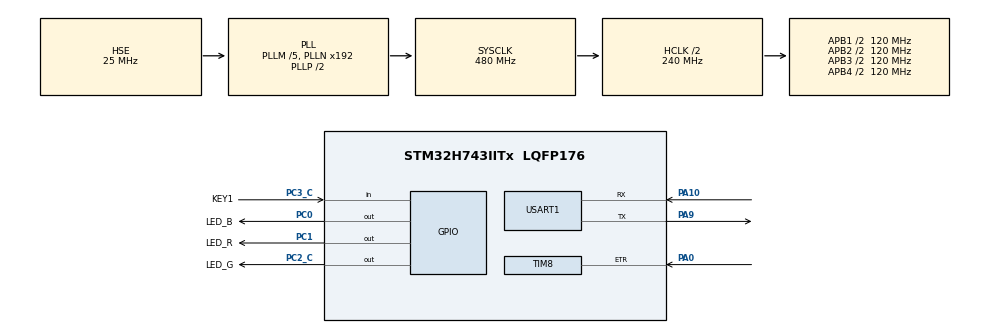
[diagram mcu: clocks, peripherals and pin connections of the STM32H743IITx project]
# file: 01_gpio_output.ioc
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CORTEX_M7.Enable_Spec=__NULL
CORTEX_M7.default_mode_Activation=1
Mcu.Family=STM32H7
Mcu.Name=STM32H743IITx
Mcu.Package=LQFP176
NVIC.PriorityGroup=NVIC_PRIORITYGROUP_4
NVIC.TIM7_IRQn=true\:0\:0\:false\:false\:true\:true\:true\:true
NVIC.TIM8_UP_TIM13_IRQn=true\:0\:0\:false\:false\:true\:true\:true\:true
NVIC.USART1_IRQn=true\:0\:0\:false\:false\:true\:true\:true\:true
PA0.Signal=S_TIM8_ETR
PA10.Mode=Asynchronous
PA10.Signal=USART1_RX
PA13\ (JTMS/SWDIO).Mode=Serial_Wire
PA13\ (JTMS/SWDIO).Signal=DEBUG_JTMS-SWDIO
PA14\ (JTCK/SWCLK).Mode=Serial_Wire
PA14\ (JTCK/SWCLK).Signal=DEBUG_JTCK-SWCLK
PA9.Mode=Asynchronous
PA9.Signal=USART1_TX
PC0.GPIO_Label=LED_B
PC0.GPIO_ModeDefaultOutputPP=GPIO_MODE_OUTPUT_PP
PC0.GPIO_PuPd=GPIO_NOPULL
PC0.GPIO_Speed=GPIO_SPEED_FREQ_LOW
PC0.PinState=GPIO_PIN_RESET
PC0.Signal=GPIO_Output
PC1.GPIO_Label=LED_R
PC1.PinState=GPIO_PIN_RESET
PC1.Signal=GPIO_Output
PC2_C.GPIO_Label=LED_G
PC2_C.PinState=GPIO_PIN_RESET
PC2_C.Signal=GPIO_Output
PC3_C.GPIO_Label=KEY1
PC3_C.GPIO_PuPd=GPIO_PULLUP
PC3_C.Signal=GPIO_Input
PH0-OSC_IN\ (PH0).Mode=HSE-External-Oscillator
PH0-OSC_IN\ (PH0).Signal=RCC_OSC_IN
PH1-OSC_OUT\ (PH1).Mode=HSE-External-Oscillator
PH1-OSC_OUT\ (PH1).Signal=RCC_OSC_OUT
ProjectManager.HeapSize=0x200
ProjectManager.StackSize=0x400
ProjectManager.TargetToolchain=CMake
RCC.ADCFreq_Value=50390625
RCC.APB1Freq_Value=120000000
RCC.APB2Freq_Value=120000000
RCC.APB3Freq_Value=120000000
RCC.APB4Freq_Value=120000000
RCC.CortexFreq_Value=480000000
RCC.D1PPRE=RCC_APB3_DIV2
RCC.D2PPRE1=RCC_APB1_DIV2
RCC.D2PPRE2=RCC_APB2_DIV2
RCC.D3PPRE=RCC_APB4_DIV2
RCC.DIVM1=5
RCC.DIVN1=192
RCC.HCLKFreq_Value=240000000
RCC.HPRE=RCC_HCLK_DIV2
RCC.HSE_VALUE=25000000
RCC.PLLFRACN=0
RCC.PLLSourceVirtual=RCC_PLLSOURCE_HSE
RCC.SYSCLKFreq_VALUE=480000000
RCC.SYSCLKSource=RCC_SYSCLKSOURCE_PLLCLK
RCC.USBFreq_Value=480000000
SH.S_TIM8_ETR.0=TIM8_ETR,ClockSourceETR_Mode2
TIM7.AutoReloadPreload=TIM_AUTORELOAD_PRELOAD_ENABLE
TIM7.Period=9999
TIM7.Prescaler=23999
TIM8.AutoReloadPreload=TIM_AUTORELOAD_PRELOAD_DISABLE
TIM8.Period=65535
TIM8.Prescaler=0
USART1.FIFOMode=FIFOMODE_ENABLE
USART1.Parity=PARITY_NONE
USART1.RXFIFOThreshold=RXFIFO_THRESHOLD_HALFFULL
USART1.TXFIFOThreshold=TXFIFO_THRESHOLD_HALFFULL
USART1.VirtualMode-Asynchronous=VM_ASYNC
USART1.WordLength=WORDLENGTH_8B
VP_MEMORYMAP_VS_MEMORYMAP.Mode=CurAppReg
VP_TIM7_VS_ClockSourceINT.Mode=Enable_Timer
board=custom

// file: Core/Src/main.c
/* USER CODE BEGIN Header */
/**
  ******************************************************************************
  * @file           : main.c
  * @brief          : Main program body
  ******************************************************************************
  * @attention
  *
  * Copyright (c) 2025 STMicroelectronics.
  * All rights reserved.
  *
  * This software is licensed under terms that can be found in the LICENSE file
  * in the root directory of this software component.
  * If no LICENSE file comes with this software, it is provided AS-IS.
  *
  ******************************************************************************
  */
/* USER CODE END Header */
#include "main.h"
#include "memorymap.h"
#include "tim.h"
#include "usart.h"
#include "gpio.h"

/* USER CODE BEGIN Includes */
#include <string.h>
#include <stdio.h>
/* USER CODE END Includes */

void SystemClock_Config(void);
static void MPU_Config(void);

/* USER CODE BEGIN 0 */

uint32_t fre_hz = 0;
uint16_t timer8_cnt = 0;
uint16_t timer8_period = 0;
uint8_t flag_1s = 0;
#define TIM8_PERIOD 65535
void HAL_TIM_PeriodElapsedCallback(TIM_HandleTypeDef *htim) {
  if (htim->Instance == TIM8) {
    timer8_period ++;
  }
  if (htim->Instance == TIM7) {
    fre_hz = __HAL_TIM_GET_COUNTER(&htim8) +timer8_period * (TIM8_PERIOD +1 );
    __HAL_TIM_SET_COUNTER(&htim8, 0);
    timer8_period = 0;
    flag_1s = 1;
  }
}

/* USER CODE END 0 */

int main(void)
{

  /* MPU Configuration--------------------------------------------------------*/
  MPU_Config();

  /* MCU Configuration--------------------------------------------------------*/

  /* Reset of all peripherals, Initializes the Flash interface and the Systick. */
  HAL_Init();

  /* Configure the system clock */
  SystemClock_Config();

  /* Initialize all configured peripherals */
  MX_GPIO_Init();
  MX_USART1_UART_Init();
  MX_TIM7_Init();
  MX_TIM8_Init();
  /* USER CODE BEGIN 2 */

  // HAL_UARTEx_ReceiveToIdle_IT(&huart1,rx_buffer,10);
  // HAL_UART_Receive_IT(&huart1,rx_buffer,1);
  // HAL_UART_Transmit(&huart1,(uint8_t *)"hello world\r\n",13,1000);

  // HAL_UART_Transmit_IT(&huart1,(uint8_t *)"hello world\r\n",13);

  HAL_TIM_Base_Start_IT(&htim8);
  HAL_TIM_Base_Start_IT(&htim7);
  /* USER CODE END 2 */

  /* Infinite loop */
  /* USER CODE BEGIN WHILE */
  while (1)
  {
    if (flag_1s) {
      flag_1s = 0;
      char msg[50];
      int len = sprintf(msg, "Frequency: %d Hz\r\n", fre_hz);
      HAL_UART_Transmit(&huart1, (uint8_t *)msg, len, 1000);
    }
  }
  /* USER CODE END 3 */
}

void SystemClock_Config(void)
{
  RCC_OscInitTypeDef RCC_OscInitStruct = {0};
  RCC_ClkInitTypeDef RCC_ClkInitStruct = {0};

  /** Supply configuration update enable
  */
  HAL_PWREx_ConfigSupply(PWR_LDO_SUPPLY);

  /** Configure the main internal regulator output voltage
  */
  __HAL_PWR_VOLTAGESCALING_CONFIG(PWR_REGULATOR_VOLTAGE_SCALE0);

  while(!__HAL_PWR_GET_FLAG(PWR_FLAG_VOSRDY)) {}

  /** Initializes the RCC Oscillators according to the specified parameters
  * in the RCC_OscInitTypeDef structure.
  */
  RCC_OscInitStruct.OscillatorType = RCC_OSCILLATORTYPE_HSE;
  RCC_OscInitStruct.HSEState = RCC_HSE_ON;
  RCC_OscInitStruct.PLL.PLLState = RCC_PLL_ON;
  RCC_OscInitStruct.PLL.PLLSource = RCC_PLLSOURCE_HSE;
  RCC_OscInitStruct.PLL.PLLM = 5;
  RCC_OscInitStruct.PLL.PLLN = 192;
  RCC_OscInitStruct.PLL.PLLP = 2;
  RCC_OscInitStruct.PLL.PLLQ = 2;
  RCC_OscInitStruct.PLL.PLLR = 2;
  RCC_OscInitStruct.PLL.PLLRGE = RCC_PLL1VCIRANGE_2;
  RCC_OscInitStruct.PLL.PLLVCOSEL = RCC_PLL1VCOWIDE;
  RCC_OscInitStruct.PLL.PLLFRACN = 0;
  if (HAL_RCC_OscConfig(&RCC_OscInitStruct) != HAL_OK)
  {
    Error_Handler();
  }

  /** Initializes the CPU, AHB and APB buses clocks
  */
  RCC_ClkInitStruct.ClockType = RCC_CLOCKTYPE_HCLK|RCC_CLOCKTYPE_SYSCLK
                              |RCC_CLOCKTYPE_PCLK1|RCC_CLOCKTYPE_PCLK2
                              |RCC_CLOCKTYPE_D3PCLK1|RCC_CLOCKTYPE_D1PCLK1;
  RCC_ClkInitStruct.SYSCLKSource = RCC_SYSCLKSOURCE_PLLCLK;
  RCC_ClkInitStruct.SYSCLKDivider = RCC_SYSCLK_DIV1;
  RCC_ClkInitStruct.AHBCLKDivider = RCC_HCLK_DIV2;
  RCC_ClkInitStruct.APB3CLKDivider = RCC_APB3_DIV2;
  RCC_ClkInitStruct.APB1CLKDivider = RCC_APB1_DIV2;
  RCC_ClkInitStruct.APB2CLKDivider = RCC_APB2_DIV2;
  RCC_ClkInitStruct.APB4CLKDivider = RCC_APB4_DIV2;

  if (HAL_RCC_ClockConfig(&RCC_ClkInitStruct, FLASH_LATENCY_4) != HAL_OK)
  {
    Error_Handler();
  }
}

 /* MPU Configuration */

void MPU_Config(void)
{

  /* Disables the MPU */
  HAL_MPU_Disable();

  /* Enables the MPU */
  HAL_MPU_Enable(MPU_PRIVILEGED_DEFAULT);

}

void Error_Handler(void)
{
  __disable_irq();
  while (1)
  {
  }
}
